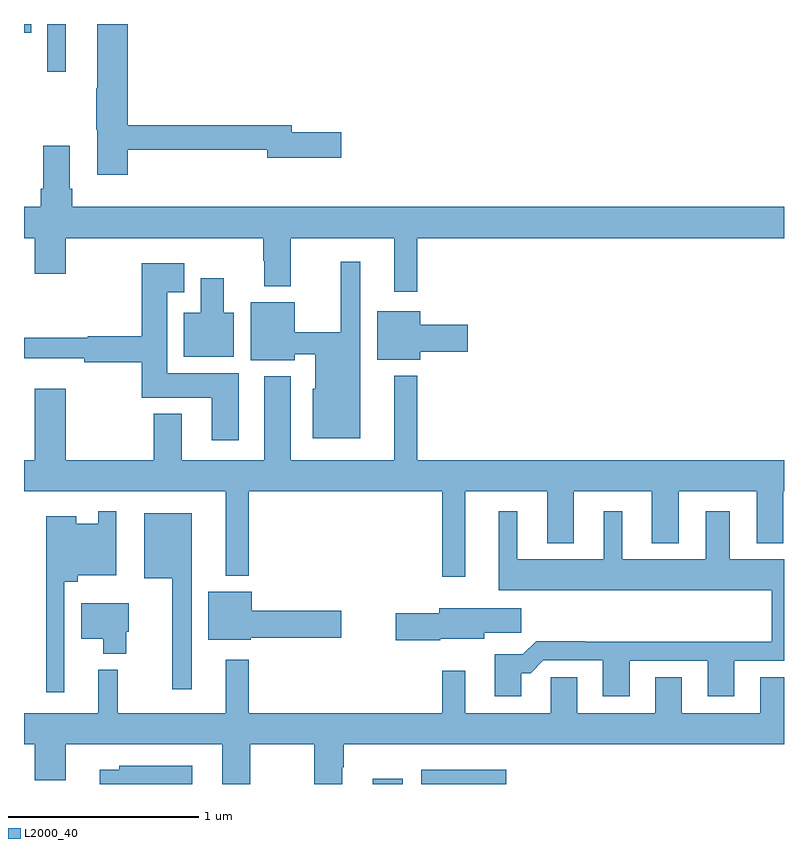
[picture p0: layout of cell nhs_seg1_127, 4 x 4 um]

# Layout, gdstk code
import gdstk
lib = gdstk.Library(unit=1e-6, precision=1e-09)
def R(c, l, rs):  # rectangles x0, y0, x1, y1
    for r in rs: c.add(gdstk.rectangle(r[:2], r[2:], *l))
def P(c, l, *ps):  # polygons
    for p in ps: c.add(gdstk.Polygon(p, *l))
L2000_40 = (2000, 40)

nhs_seg1_127 = lib.new_cell('nhs_seg1_127')
R(nhs_seg1_127, L2000_40, [(118.835,542.199,118.993,542.227), (119.091,542.199,119.539,542.275), (117.123,545.949,117.22,546.199), (117,546.154,117.038,546.199)])
P(nhs_seg1_127, L2000_40, [(117.545,545.538),(118.28,545.538),(118.28,545.495),(118.669,545.495),(118.669,545.63),(118.408,545.63),(118.408,545.666),(117.545,545.666),(117.545,546.199),(117.386,546.199),(117.386,545.861),(117.379,545.861),(117.379,545.643),(117.386,545.643),(117.386,545.406),(117.545,545.406)],
  [(119.071,545.072),(121,545.072),(121,545.236),(117.254,545.236),(117.254,545.332),(117.241,545.332),(117.241,545.557),(117.101,545.557),(117.101,545.332),(117.089,545.332),(117.089,545.236),(117,545.236),(117,545.072),(117.056,545.072),(117.056,544.884),(117.22,544.884),(117.22,545.072),(118.258,545.072),(118.258,544.952),(118.265,544.952),(118.265,544.82),(118.405,544.82),(118.405,545.072),(118.949,545.072),(118.949,544.791),(119.071,544.791)],
  [(118.771,544.948),(118.667,544.948),(118.667,544.577),(118.426,544.577),(118.426,544.735),(118.193,544.735),(118.193,544.43),(118.426,544.43),(118.426,544.46),(118.532,544.46),(118.532,544.278),(118.52,544.278),(118.52,544.019),(118.771,544.019)],
  [(118.129,544.36),(117.754,544.36),(117.754,544.787),(117.844,544.787),(117.844,544.939),(117.62,544.939),(117.62,544.556),(117.336,544.556),(117.336,544.549),(117,544.549),(117,544.439),(117.316,544.439),(117.316,544.42),(117.62,544.42),(117.62,544.232),(117.989,544.232),(117.989,544.008),(118.129,544.008)],
  [(118.105,544.678),(118.051,544.678),(118.051,544.861),(117.929,544.861),(117.929,544.678),(117.842,544.678),(117.842,544.448),(118.105,544.448)],
  [(119.086,544.475),(119.335,544.475),(119.335,544.617),(119.086,544.617),(119.086,544.687),(118.859,544.687),(118.859,544.433),(119.086,544.433)],
  [(119.323,543.74),(119.753,543.74),(119.753,543.467),(119.893,543.467),(119.893,543.74),(120.305,543.74),(120.305,543.467),(120.445,543.467),(120.445,543.74),(120.857,543.74),(120.857,543.467),(120.997,543.467),(120.997,543.74),(121,543.74),(121,543.904),(119.071,543.904),(119.071,544.348),(118.949,544.348),(118.949,543.904),(118.405,543.904),(118.405,544.345),(118.265,544.345),(118.265,543.904),(117.829,543.904),(117.829,544.147),(117.682,544.147),(117.682,543.904),(117.22,543.904),(117.22,544.279),(117.056,544.279),(117.056,543.904),(117,543.904),(117,543.74),(118.061,543.74),(118.061,543.296),(118.183,543.296),(118.183,543.74),(119.202,543.74),(119.202,543.291),(119.323,543.291)],
  [(117.213,543.263),(117.282,543.263),(117.282,543.299),(117.486,543.299),(117.486,543.634),(117.39,543.634),(117.39,543.568),(117.274,543.568),(117.274,543.607),(117.116,543.607),(117.116,542.682),(117.213,542.682)],
  [(119.617,542.783),(119.666,542.783),(119.733,542.85),(120.047,542.85),(120.047,542.661),(120.187,542.661),(120.187,542.847),(120.599,542.847),(120.599,542.661),(120.739,542.661),(120.739,542.847),(121,542.847),(121,543.382),(120.715,543.382),(120.715,543.634),(120.587,543.634),(120.587,543.382),(120.148,543.382),(120.148,543.634),(120.05,543.634),(120.05,543.382),(119.596,543.382),(119.596,543.634),(119.498,543.634),(119.498,543.218),(120.935,543.218),(120.935,542.948),(119.951,542.948),(119.951,542.951),(119.696,542.951),(119.626,542.881),(119.477,542.881),(119.477,542.661),(119.617,542.661)],
  [(117.883,543.625),(117.632,543.625),(117.632,543.281),(117.779,543.281),(117.779,542.697),(117.883,542.697)],
  [(118.194,542.968),(118.669,542.968),(118.669,543.11),(118.198,543.11),(118.198,543.211),(117.971,543.211),(117.971,542.957),(118.194,542.957)],
  [(117.538,543),(117.55,543),(117.55,543.151),(117.302,543.151),(117.302,542.963),(117.416,542.963),(117.416,542.885),(117.538,542.885)],
  [(119.19,542.963),(119.422,542.963),(119.422,542.995),(119.617,542.995),(119.617,543.124),(119.186,543.124),(119.186,543.098),(118.956,543.098),(118.956,542.956),(119.19,542.956)],
  [(118.191,542.408),(118.528,542.408),(118.528,542.199),(118.675,542.199),(118.675,542.288),(118.683,542.288),(118.683,542.408),(121,542.408),(121,542.762),(120.875,542.762),(120.875,542.572),(120.463,542.572),(120.463,542.762),(120.323,542.762),(120.323,542.572),(119.911,542.572),(119.911,542.762),(119.772,542.762),(119.772,542.572),(119.323,542.572),(119.323,542.794),(119.202,542.794),(119.202,542.572),(118.183,542.572),(118.183,542.854),(118.061,542.854),(118.061,542.572),(117.494,542.572),(117.494,542.8),(117.392,542.8),(117.392,542.572),(117,542.572),(117,542.408),(117.056,542.408),(117.056,542.22),(117.22,542.22),(117.22,542.408),(118.043,542.408),(118.043,542.199),(118.191,542.199)],
  [(117.886,542.296),(117.501,542.296),(117.501,542.275),(117.398,542.275),(117.398,542.199),(117.886,542.199)])

lib.write_gds('nhs_seg1_127.gds')
